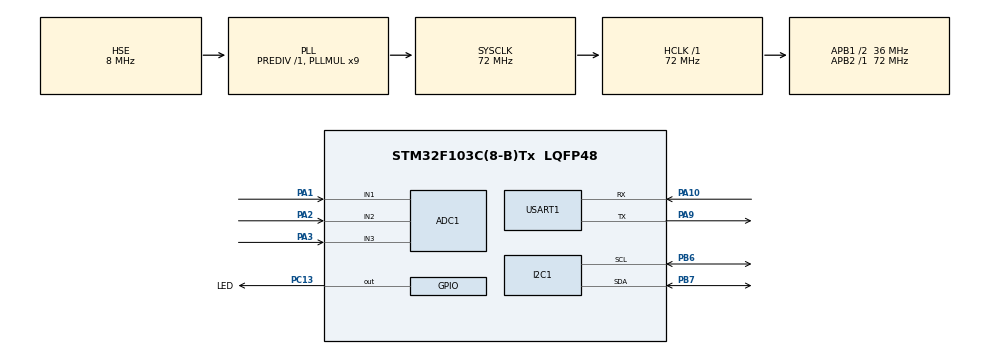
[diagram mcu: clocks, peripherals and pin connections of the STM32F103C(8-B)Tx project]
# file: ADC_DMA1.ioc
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ADC1.Channel-0\#ChannelRegularConversion=ADC_CHANNEL_1
ADC1.Channel-1\#ChannelRegularConversion=ADC_CHANNEL_2
ADC1.Channel-2\#ChannelRegularConversion=ADC_CHANNEL_3
ADC1.ExternalTrigConv=ADC_EXTERNALTRIGCONV_T3_TRGO
ADC1.NbrOfConversion=3
ADC1.NbrOfConversionFlag=1
ADC1.Rank-0\#ChannelRegularConversion=1
ADC1.Rank-1\#ChannelRegularConversion=2
ADC1.Rank-2\#ChannelRegularConversion=3
ADC1.SamplingTime-0\#ChannelRegularConversion=ADC_SAMPLETIME_55CYCLES_5
ADC1.SamplingTime-1\#ChannelRegularConversion=ADC_SAMPLETIME_55CYCLES_5
ADC1.SamplingTime-2\#ChannelRegularConversion=ADC_SAMPLETIME_55CYCLES_5
ADC1.master=1
Dma.ADC1.0.Direction=DMA_PERIPH_TO_MEMORY
Dma.ADC1.0.Instance=DMA1_Channel1
Dma.ADC1.0.MemDataAlignment=DMA_MDATAALIGN_WORD
Dma.ADC1.0.MemInc=DMA_MINC_ENABLE
Dma.ADC1.0.Mode=DMA_CIRCULAR
Dma.ADC1.0.PeriphDataAlignment=DMA_PDATAALIGN_WORD
Dma.ADC1.0.PeriphInc=DMA_PINC_DISABLE
Dma.ADC1.0.Priority=DMA_PRIORITY_MEDIUM
Dma.Request0=ADC1
Mcu.Family=STM32F1
Mcu.Name=STM32F103C(8-B)Tx
Mcu.Package=LQFP48
NVIC.DMA1_Channel1_IRQn=true\:0\:0\:false\:false\:true\:false\:true
NVIC.PriorityGroup=NVIC_PRIORITYGROUP_4
PA1.Signal=ADCx_IN1
PA10.Mode=Asynchronous
PA10.Signal=USART1_RX
PA13.Mode=Serial_Wire
PA13.Signal=SYS_JTMS-SWDIO
PA14.Mode=Serial_Wire
PA14.Signal=SYS_JTCK-SWCLK
PA2.Signal=ADCx_IN2
PA3.Signal=ADCx_IN3
PA9.Mode=Asynchronous
PA9.Signal=USART1_TX
PB6.Mode=I2C
PB6.Signal=I2C1_SCL
PB7.Mode=I2C
PB7.Signal=I2C1_SDA
PC13-TAMPER-RTC.GPIO_Label=LED
PC13-TAMPER-RTC.Signal=GPIO_Output
PD0-OSC_IN.Mode=HSE-External-Oscillator
PD0-OSC_IN.Signal=RCC_OSC_IN
PD1-OSC_OUT.Mode=HSE-External-Oscillator
PD1-OSC_OUT.Signal=RCC_OSC_OUT
ProjectManager.HeapSize=0x200
ProjectManager.StackSize=0x400
ProjectManager.TargetToolchain=STM32CubeIDE
RCC.ADCPresc=RCC_ADCPCLK2_DIV8
RCC.AHBFreq_Value=72000000
RCC.APB1CLKDivider=RCC_HCLK_DIV2
RCC.APB1Freq_Value=36000000
RCC.APB1TimFreq_Value=72000000
RCC.APB2Freq_Value=72000000
RCC.APB2TimFreq_Value=72000000
RCC.HCLKFreq_Value=72000000
RCC.PLLMUL=RCC_PLL_MUL9
RCC.PLLSourceVirtual=RCC_PLLSOURCE_HSE
RCC.SYSCLKFreq_VALUE=72000000
RCC.SYSCLKSource=RCC_SYSCLKSOURCE_PLLCLK
RCC.USBFreq_Value=48000000
RCC.USBPrescaler=RCC_USBCLKSOURCE_PLL_DIV1_5
SH.ADCx_IN1.0=ADC1_IN1,IN1
SH.ADCx_IN2.0=ADC1_IN2,IN2
SH.ADCx_IN3.0=ADC1_IN3,IN3
TIM3.AutoReloadPreload=TIM_AUTORELOAD_PRELOAD_ENABLE
TIM3.Period=1000
TIM3.Prescaler=7200
TIM3.TIM_MasterOutputTrigger=TIM_TRGO_UPDATE
USART1.VirtualMode=VM_ASYNC
VP_TIM3_VS_ClockSourceINT.Mode=Internal
board=custom

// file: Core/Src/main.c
/* USER CODE BEGIN Header */
/**
 ******************************************************************************
 * @file           : main.c
 * @brief          : Main program body
 ******************************************************************************
 * @attention
 *
 * Copyright (c) 2022 STMicroelectronics.
 * All rights reserved.
 *
 * This software is licensed under terms that can be found in the LICENSE file
 * in the root directory of this software component.
 * If no LICENSE file comes with this software, it is provided AS-IS.
 *
 ******************************************************************************
 */
/* USER CODE END Header */
#include "main.h"
#include "stdio.h"
#include "i2c-lcd.h"
#include "string.h"
#define LED_ON()   HAL_GPIO_WritePin(GPIOC, GPIO_PIN_13, GPIO_PIN_RESET)
#define LED_OFF()  HAL_GPIO_WritePin(GPIOC, GPIO_PIN_13, GPIO_PIN_SET)

/* USER CODE BEGIN Includes */
#define ADC_BUFLEN 3
uint32_t adcBuf[ADC_BUFLEN];   //For ADC samples.

uint8_t ADC_FLAG;
#define TRUE 1
#define FALSE 0

/* USER CODE END Includes */

ADC_HandleTypeDef hadc1;
DMA_HandleTypeDef hdma_adc1;

I2C_HandleTypeDef hi2c1;

TIM_HandleTypeDef htim3;

UART_HandleTypeDef huart1;

void SystemClock_Config(void);
static void MX_GPIO_Init(void);
static void MX_DMA_Init(void);
static void MX_ADC1_Init(void);
static void MX_TIM3_Init(void);
static void MX_I2C1_Init(void);
static void MX_USART1_UART_Init(void);
/* USER CODE BEGIN PFP */

char str1[20];

/* USER CODE END PFP */

int main(void)
{
  /* USER CODE BEGIN 1 */
	int i;                //AO!
		char msgbuf[128];
  /* USER CODE END 1 */

  /* MCU Configuration--------------------------------------------------------*/

  /* Reset of all peripherals, Initializes the Flash interface and the Systick. */
  HAL_Init();

  /* Configure the system clock */
  SystemClock_Config();

  /* Initialize all configured peripherals */
  MX_GPIO_Init();
  MX_DMA_Init();
  MX_ADC1_Init();
  MX_TIM3_Init();
  MX_I2C1_Init();
  MX_USART1_UART_Init();
  /* USER CODE BEGIN 2 */

	HAL_ADC_Start_DMA(&hadc1, adcBuf, ADC_BUFLEN);
	ADC_FLAG = TRUE;

	i = 0;
	LED_ON();

	HAL_Delay(500);
	LED_OFF();
	lcd_init();
	//	lcd_send_cmd(0x80 | 0x00);
	setCursor(0, 0);
	lcd_send_string("ANGULAIR");
	HAL_Delay(1000);
	lcd_clear();

	//	lcd_send_cmd(0x80 | 0x40);
	setCursor(3, 1);
	lcd_send_string("INITIALIZING");

  /* USER CODE END 2 */

  /* Infinite loop */
	while (1) {
		if (ADC_FLAG == TRUE) {
					ADC_FLAG = FALSE;
					++i;
					LED_ON();  //After ADC has been completed.
					int rawhighVal = adcBuf[2];
//					lcd_clear();
//					setCursor(3, 1);
					sprintf(str1, "%d", rawhighVal);
					lcd_send_string(str1);
					sprintf(msgbuf, "%d: ADC1=%d \r\n", i,
										(int) adcBuf[0]);
								HAL_UART_Transmit(&huart1, msgbuf, strlen(msgbuf), HAL_MAX_DELAY);

					LED_OFF();

				}
	}
}

void HAL_ADC_ConvCpltCallback(ADC_HandleTypeDef *hadc1) {

	ADC_FLAG = TRUE;
}
void SystemClock_Config(void)
{
  RCC_OscInitTypeDef RCC_OscInitStruct = {0};
  RCC_ClkInitTypeDef RCC_ClkInitStruct = {0};
  RCC_PeriphCLKInitTypeDef PeriphClkInit = {0};

  /** Initializes the RCC Oscillators according to the specified parameters
  * in the RCC_OscInitTypeDef structure.
  */
  RCC_OscInitStruct.OscillatorType = RCC_OSCILLATORTYPE_HSE;
  RCC_OscInitStruct.HSEState = RCC_HSE_ON;
  RCC_OscInitStruct.HSEPredivValue = RCC_HSE_PREDIV_DIV1;
  RCC_OscInitStruct.HSIState = RCC_HSI_ON;
  RCC_OscInitStruct.PLL.PLLState = RCC_PLL_ON;
  RCC_OscInitStruct.PLL.PLLSource = RCC_PLLSOURCE_HSE;
  RCC_OscInitStruct.PLL.PLLMUL = RCC_PLL_MUL9;
  if (HAL_RCC_OscConfig(&RCC_OscInitStruct) != HAL_OK)
  {
    Error_Handler();
  }
  /** Initializes the CPU, AHB and APB buses clocks
  */
  RCC_ClkInitStruct.ClockType = RCC_CLOCKTYPE_HCLK|RCC_CLOCKTYPE_SYSCLK
                              |RCC_CLOCKTYPE_PCLK1|RCC_CLOCKTYPE_PCLK2;
  RCC_ClkInitStruct.SYSCLKSource = RCC_SYSCLKSOURCE_PLLCLK;
  RCC_ClkInitStruct.AHBCLKDivider = RCC_SYSCLK_DIV1;
  RCC_ClkInitStruct.APB1CLKDivider = RCC_HCLK_DIV2;
  RCC_ClkInitStruct.APB2CLKDivider = RCC_HCLK_DIV1;

  if (HAL_RCC_ClockConfig(&RCC_ClkInitStruct, FLASH_LATENCY_2) != HAL_OK)
  {
    Error_Handler();
  }
  PeriphClkInit.PeriphClockSelection = RCC_PERIPHCLK_ADC;
  PeriphClkInit.AdcClockSelection = RCC_ADCPCLK2_DIV8;
  if (HAL_RCCEx_PeriphCLKConfig(&PeriphClkInit) != HAL_OK)
  {
    Error_Handler();
  }
}

static void MX_ADC1_Init(void)
{

  ADC_ChannelConfTypeDef sConfig = {0};

  /** Common config
  */
  hadc1.Instance = ADC1;
  hadc1.Init.ScanConvMode = ADC_SCAN_ENABLE;
  hadc1.Init.ContinuousConvMode = DISABLE;
  hadc1.Init.DiscontinuousConvMode = DISABLE;
  hadc1.Init.ExternalTrigConv = ADC_EXTERNALTRIGCONV_T3_TRGO;
  hadc1.Init.DataAlign = ADC_DATAALIGN_RIGHT;
  hadc1.Init.NbrOfConversion = 3;
  if (HAL_ADC_Init(&hadc1) != HAL_OK)
  {
    Error_Handler();
  }
  /** Configure Regular Channel
  */
  sConfig.Channel = ADC_CHANNEL_1;
  sConfig.Rank = ADC_REGULAR_RANK_1;
  sConfig.SamplingTime = ADC_SAMPLETIME_55CYCLES_5;
  if (HAL_ADC_ConfigChannel(&hadc1, &sConfig) != HAL_OK)
  {
    Error_Handler();
  }
  /** Configure Regular Channel
  */
  sConfig.Channel = ADC_CHANNEL_2;
  sConfig.Rank = ADC_REGULAR_RANK_2;
  if (HAL_ADC_ConfigChannel(&hadc1, &sConfig) != HAL_OK)
  {
    Error_Handler();
  }
  /** Configure Regular Channel
  */
  sConfig.Channel = ADC_CHANNEL_3;
  sConfig.Rank = ADC_REGULAR_RANK_3;
  if (HAL_ADC_ConfigChannel(&hadc1, &sConfig) != HAL_OK)
  {
    Error_Handler();
  }

}

static void MX_I2C1_Init(void)
{

  hi2c1.Instance = I2C1;
  hi2c1.Init.ClockSpeed = 100000;
  hi2c1.Init.DutyCycle = I2C_DUTYCYCLE_2;
  hi2c1.Init.OwnAddress1 = 0;
  hi2c1.Init.AddressingMode = I2C_ADDRESSINGMODE_7BIT;
  hi2c1.Init.DualAddressMode = I2C_DUALADDRESS_DISABLE;
  hi2c1.Init.OwnAddress2 = 0;
  hi2c1.Init.GeneralCallMode = I2C_GENERALCALL_DISABLE;
  hi2c1.Init.NoStretchMode = I2C_NOSTRETCH_DISABLE;
  if (HAL_I2C_Init(&hi2c1) != HAL_OK)
  {
    Error_Handler();
  }

}

static void MX_TIM3_Init(void)
{

  TIM_ClockConfigTypeDef sClockSourceConfig = {0};
  TIM_MasterConfigTypeDef sMasterConfig = {0};

  htim3.Instance = TIM3;
  htim3.Init.Prescaler = 7200;
  htim3.Init.CounterMode = TIM_COUNTERMODE_UP;
  htim3.Init.Period = 1000;
  htim3.Init.ClockDivision = TIM_CLOCKDIVISION_DIV1;
  htim3.Init.AutoReloadPreload = TIM_AUTORELOAD_PRELOAD_ENABLE;
  if (HAL_TIM_Base_Init(&htim3) != HAL_OK)
  {
    Error_Handler();
  }
  sClockSourceConfig.ClockSource = TIM_CLOCKSOURCE_INTERNAL;
  if (HAL_TIM_ConfigClockSource(&htim3, &sClockSourceConfig) != HAL_OK)
  {
    Error_Handler();
  }
  sMasterConfig.MasterOutputTrigger = TIM_TRGO_UPDATE;
  sMasterConfig.MasterSlaveMode = TIM_MASTERSLAVEMODE_DISABLE;
  if (HAL_TIMEx_MasterConfigSynchronization(&htim3, &sMasterConfig) != HAL_OK)
  {
    Error_Handler();
  }

}

static void MX_USART1_UART_Init(void)
{

  huart1.Instance = USART1;
  huart1.Init.BaudRate = 115200;
  huart1.Init.WordLength = UART_WORDLENGTH_8B;
  huart1.Init.StopBits = UART_STOPBITS_1;
  huart1.Init.Parity = UART_PARITY_NONE;
  huart1.Init.Mode = UART_MODE_TX_RX;
  huart1.Init.HwFlowCtl = UART_HWCONTROL_NONE;
  huart1.Init.OverSampling = UART_OVERSAMPLING_16;
  if (HAL_UART_Init(&huart1) != HAL_OK)
  {
    Error_Handler();
  }

}

static void MX_DMA_Init(void)
{

  /* DMA controller clock enable */
  __HAL_RCC_DMA1_CLK_ENABLE();

  /* DMA interrupt init */
  /* DMA1_Channel1_IRQn interrupt configuration */
  HAL_NVIC_SetPriority(DMA1_Channel1_IRQn, 0, 0);
  HAL_NVIC_EnableIRQ(DMA1_Channel1_IRQn);

}

static void MX_GPIO_Init(void)
{
  GPIO_InitTypeDef GPIO_InitStruct = {0};

  /* GPIO Ports Clock Enable */
  __HAL_RCC_GPIOC_CLK_ENABLE();
  __HAL_RCC_GPIOD_CLK_ENABLE();
  __HAL_RCC_GPIOA_CLK_ENABLE();
  __HAL_RCC_GPIOB_CLK_ENABLE();

  /*Configure GPIO pin Output Level */
  HAL_GPIO_WritePin(LED_GPIO_Port, LED_Pin, GPIO_PIN_RESET);

  /*Configure GPIO pin : LED_Pin */
  GPIO_InitStruct.Pin = LED_Pin;
  GPIO_InitStruct.Mode = GPIO_MODE_OUTPUT_PP;
  GPIO_InitStruct.Pull = GPIO_NOPULL;
  GPIO_InitStruct.Speed = GPIO_SPEED_FREQ_LOW;
  HAL_GPIO_Init(LED_GPIO_Port, &GPIO_InitStruct);

}

void Error_Handler(void)
{
	__disable_irq();
	while (1) {
	}
}
